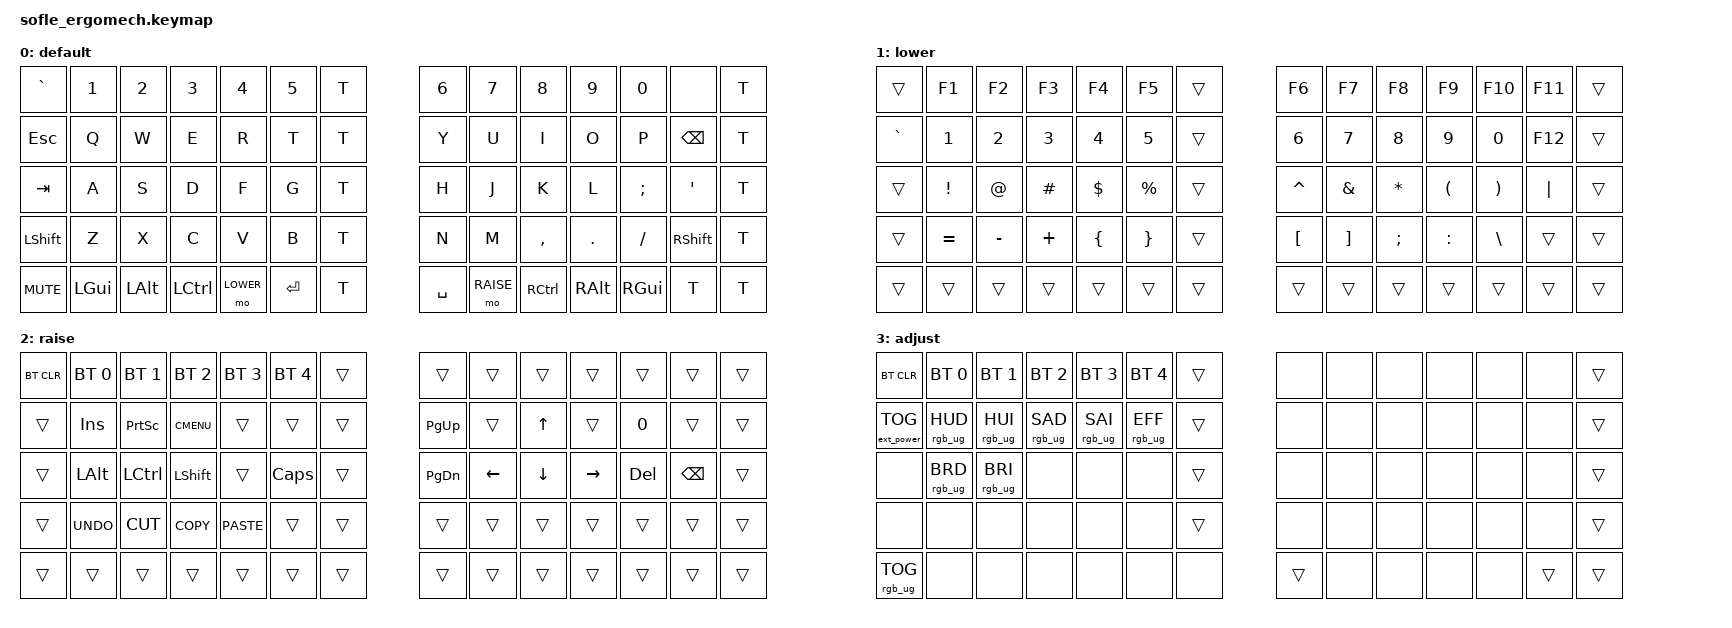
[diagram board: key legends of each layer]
/*
 * Copyright (c) 2020 The ZMK Contributors
 *
 * SPDX-License-Identifier: MIT
 */

#include <behaviors.dtsi>
#include <dt-bindings/zmk/keys.h>
#include <dt-bindings/zmk/bt.h>
#include <dt-bindings/zmk/rgb.h>
#include <dt-bindings/zmk/ext_power.h>

#define BASE 0
#define LOWER 1
#define RAISE 2
#define ADJUST 3

/ {

   // Activate ADJUST layer by pressing raise and lower

    conditional_layers {
        compatible = "zmk,conditional-layers";

        adjust_layer {
            if-layers = <LOWER RAISE>;
            then-layer = <ADJUST>;
        };
    };

    keymap {
        compatible = "zmk,keymap";

        default_layer {
            label = "default";
// ------------------------------------------------------------------------------------------------------------
// |   `   |  1  |  2  |  3   |  4   |  5   |                   |  6   |  7    |  8    |  9   |   0   |       |
// |  ESC  |  Q  |  W  |  E   |  R   |  T   |                   |  Y   |  U    |  I    |  O   |   P   | BKSPC |
// |  TAB  |  A  |  S  |  D   |  F   |  G   |                   |  H   |  J    |  K    |  L   |   ;   |   '   |
// | SHIFT |  Z  |  X  |  C   |  V   |  B   |  MUTE  |  |       |  N   |  M    |  ,    |  .   |   /   | SHIFT |
//               | GUI | ALT  | CTRL | LOWER|  ENTER |  | SPACE | RAISE| CTRL  | ALT   | GUI  |
            bindings = <
&kp GRAVE &kp N1 &kp N2   &kp N3   &kp N4    &kp N5 &kp T                         &kp N6 &kp N7    &kp N8    &kp N9   &kp N0   &none &kp T
&kp ESC   &kp Q  &kp W    &kp E    &kp R     &kp T &kp T                            &kp Y  &kp U     &kp I     &kp O    &kp P    &kp BSPC &kp T
&kp TAB   &kp A  &kp S    &kp D    &kp F     &kp G &kp T                            &kp H  &kp J     &kp K     &kp L    &kp SEMI &kp SQT &kp T
&kp LSHFT &kp Z  &kp X    &kp C    &kp V     &kp B &kp T                            &kp N  &kp M     &kp COMMA &kp DOT  &kp FSLH &kp RSHFT &kp T
   &kp C_MUTE  &kp LGUI &kp LALT &kp LCTRL &mo LOWER  &kp RET &kp T    &kp SPACE  &mo RAISE  &kp RCTRL &kp RALT  &kp RGUI &kp T &kp T
                                                                  
            >;


        };

        lower_layer {
            label = "lower";
// TODO: Some binds are waiting for shifted keycode support.
// ------------------------------------------------------------------------------------------------------------
// |       |  F1 |  F2 |  F3  |  F4  |  F5  |                   |  F6  |  F7   |  F8   |  F9  |  F10  |  F11  |
// |   `   |  1  |  2  |  3   |  4   |  5   |                   |  6   |  7    |  8    |  9   |   0   |  F12  |
// |       |  !  |  @  |  #   |  $   |  %   |                   |  ^   |  &    |  *    |  (   |   )   |   |   |
// |       |  =  |  -  |  +   |  {   |  }   |        |  |       |  [   |  ]    |  ;    |  :   |   \   |       |
//               |     |      |      |      |        |  |       |      |       |       |      |
            bindings = <
&trans    &kp F1    &kp F2    &kp F3      &kp F4    &kp F5 &trans                    &kp F6    &kp F7   &kp F8          &kp F9    &kp F10   &kp F11 &trans
&kp GRAVE &kp N1    &kp N2    &kp N3      &kp N4    &kp N5 &trans                   &kp N6    &kp N7   &kp N8          &kp N9    &kp N0    &kp F12 &trans
&trans    &kp EXCL  &kp AT    &kp HASH    &kp DLLR  &kp PRCNT &trans                 &kp CARET &kp AMPS &kp ASTRK &kp LPAR  &kp RPAR  &kp PIPE &trans
&trans    &kp EQUAL &kp MINUS &kp PLUS &kp LBRC  &kp RBRC &trans                     &kp LBKT  &kp RBKT &kp SEMI        &kp COLON &kp BSLH  &trans &trans                                                    
            &trans        &trans    &trans      &trans    &trans     &trans &trans &trans  &trans    &trans   &trans          &trans  &trans  &trans
                                                                   
            >;


        };

        raise_layer {
            label = "raise";
// ------------------------------------------------------------------------------------------------------------
// | BTCLR | BT1  | BT2  |  BT3  |  BT4  |  BT5 |                |      |      |       |      |       |       |
// |       | INS  | PSCR | GUI   |       |      |                | PGUP |      |   ^   |      |       |       |
// |       | ALT  | CTRL | SHIFT |       | CAPS |                | PGDN |   <- |   v   |  ->  |  DEL  | BKSPC |
// |       | UNDO | CUT  | COPY  | PASTE |      |      |  |      |      |      |       |      |       |       |
//                |      |       |       |      |      |  |      |      |      |       |      |
            bindings = <
&bt BT_CLR &bt BT_SEL 0 &bt BT_SEL 1 &bt BT_SEL 2 &bt BT_SEL 3 &bt BT_SEL 4 &trans                  &trans    &trans    &trans   &trans    &trans  &trans &trans
&trans     &kp INS      &kp PSCRN    &kp K_CMENU  &trans       &trans &trans                        &kp PG_UP &trans    &kp UP   &trans    &kp N0  &trans &trans
&trans     &kp LALT     &kp LCTRL    &kp LSHFT    &trans       &kp CLCK &trans                      &kp PG_DN &kp LEFT  &kp DOWN &kp RIGHT &kp DEL &kp BSPC &trans
&trans     &kp K_UNDO   &kp K_CUT    &kp K_COPY   &kp K_PASTE  &trans &trans                        &trans    &trans    &trans   &trans    &trans  &trans &trans
                &trans        &trans       &trans       &trans       &trans        &trans &trans   &trans  &trans    &trans    &trans   &trans  &trans  &trans
                                                                                    
            >;


        };

        adjust_layer {
// ----------------------------------------------------------------------------------------------------------------------------
// | BTCLR  |  BT1    |  BT2    |   BT3   |   BT4   |   BT5   |                  |      |      |       |      |       |       |
// | EXTPWR | RGB_HUD | RGB_HUI | RGB_SAD | RGB_SAI | RGB_EFF |                  |      |      |       |      |       |       |
// |        | RGB_BRD | RGB_BRI |         |         |         |                  |      |      |       |      |       |       |
// |        |         |         |         |         |         | RGB_TOG | |      |      |      |       |      |       |       |
//                    |         |         |         |         |         | |      |      |      |       |      |
            label = "adjust";
            bindings = <
&bt BT_CLR        &bt BT_SEL 0    &bt BT_SEL 1    &bt BT_SEL 2    &bt BT_SEL 3    &bt BT_SEL 4 &trans                                                 &none &none &none &none &none &none &trans
&ext_power EP_TOG &rgb_ug RGB_HUD &rgb_ug RGB_HUI &rgb_ug RGB_SAD &rgb_ug RGB_SAI &rgb_ug RGB_EFF &trans                                              &none &none &none &none &none &none &trans
&none             &rgb_ug RGB_BRD &rgb_ug RGB_BRI &none           &none           &none &trans                                                        &none &none &none &none &none &none &trans
&none             &none           &none           &none           &none           &none &trans                                                        &none &none &none &none &none &none &trans                                                                               
                    &rgb_ug RGB_TOG              &none           &none           &none           &none            &none           &none          &trans  &none &none &none &none &trans &trans
                                                                                                                   
            >;
        };

    };
};
